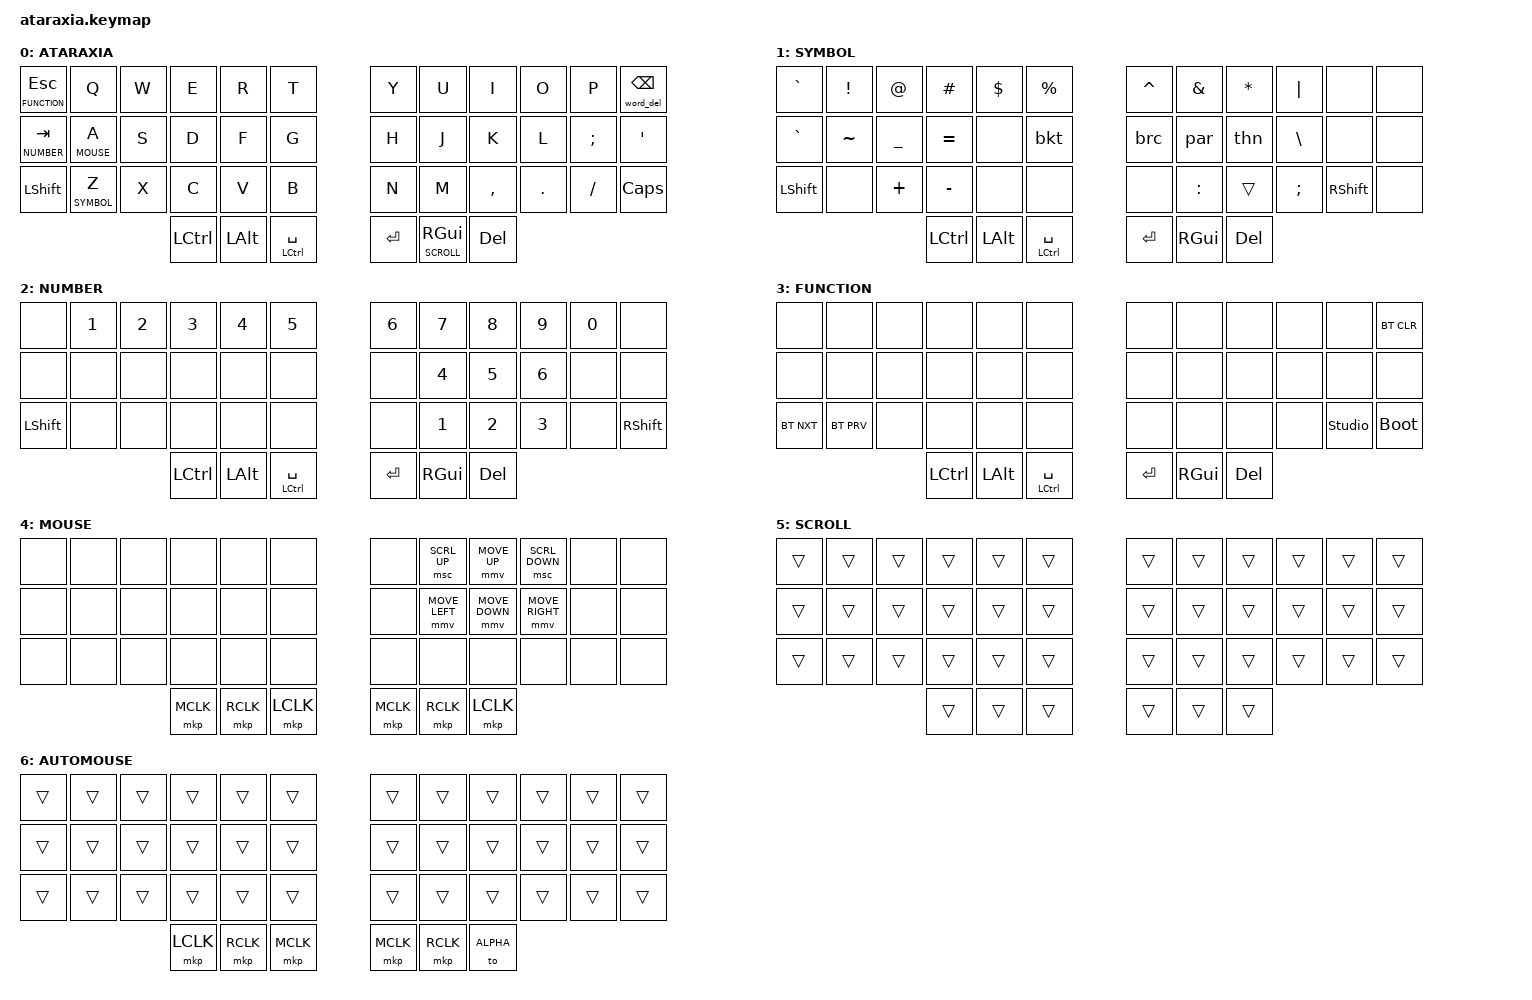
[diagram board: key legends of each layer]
/*
 * Copyright (c) 2025 miketronic
 * SPDX-License-Identifier: MIT
 * ataraxia
 */

/*
 *
 * List of behvaiors here > https://github.com/zmkfirmware/zmk/tree/main/app/dts/behaviors
 *
 *
 * #undef ZMK_BEHAVIORS_KEEP_ALL
 * #define ZMK_BEHAVIORS_KEEP_BT
 * #define ZMK_BEHAVIORS_KEEP_KP
 * #define ZMK_BEHAVIORS_KEEP_LT
 * #define ZMK_BEHAVIORS_KEEP_MKP
 * #define ZMK_BEHAVIORS_KEEP_MMV
 * #define ZMK_BEHAVIORS_KEEP_MSC
 * #define ZMK_BEHAVIORS_KEEP_MT
 * #define ZMK_BEHAVIORS_KEEP_NONE
 * #define ZMK_BEHAVIORS_KEEP_SK
 *
 *
 */




#define ZMK_POINTING_DEFAULT_MOVE_VAL 500
#define ZMK_POINTING_DEFAULT_SCRL_VAL 20

#include <behaviors.dtsi>
#include <input/processors.dtsi>
// #include <zephyr/dt-bindings/input/input-event-codes.h>
#include <dt-bindings/zmk/keys.h>
#include <dt-bindings/zmk/bt.h>
#include <dt-bindings/zmk/outputs.h>
#include <dt-bindings/zmk/pointing.h>
// #include <dt-bindings/zmk/ext_power.h>
#include <dt-bindings/zmk/input_transform.h>


#define ALPHA       0
#define SYMBOL      1
#define NUMBER      2
#define FUNCTION    3
#define MOUSE       4
#define SCROLL      5
#define AUTOMOUSE   6

/* Automouse (Navigator-style auto-activation of a layer on ball movement)
 * was tried and removed: it caused mistypes in practice. No automouse-layer
 * property is set, so the driver's auto-shift never fires; the mouse layer
 * is only entered deliberately (hold MSEA, or a Studio-bound toggle key for
 * layer 4). AUTOMOUSE_layer (6) below is kept as an inert placeholder so
 * layer indices stay stable for ZMK Studio-saved keymaps. */
&trackball {
    /* The shield's board fixup sets scroll-layers = <4 5>, but layer 4 is
     * MOUSE -- the very layer held via MSEA to get click-button access. That
     * made holding MSEA reinterpret ball movement as scrolling instead of
     * cursor movement ("locks the cursor"). Dropped 4 so MSEA no longer
     * forces scroll; SCROLL(5) is now reached independently via SCRH below. */
    scroll-layers = <SCROLL>;
};

/* zmk-pointing-acceleration-alpha, Level 2 (Standard) custom tuning -- see
 * CONFIG_INPUT_PROCESSOR_ACCEL_LEVEL_STANDARD/_PRESET_CUSTOM in ataraxia.conf.
 * This runs on every ball movement AND scroll event alike (it doesn't
 * distinguish them at runtime despite the per-axis "codes" property), so
 * these values shape both. All values below are a first-guess starting
 * point -- easy to retune, no other files involved:
 *   sensitivity          1000 = 1.0x baseline speed multiplier
 *   max-factor           multiplier applied once speed-max is reached
 *   min-factor           multiplier applied below speed-threshold (<1000 = slows down slow movements, 1000 = no effect)
 *   speed-threshold       counts/sec below which no acceleration is applied
 *   speed-max             counts/sec at which max-factor is fully reached
 *   acceleration-exponent  1=linear, 2=mild, 3=moderate, 4=strong, 5=aggressive curve between the thresholds
 *   y-boost               extra Y-axis multiplier on top of the above (1000 = none)
 *   sensor-dpi             should match CONFIG_PMW3610_CPI above (800) -- used to scale the counts/sec math correctly
 */
&pointer_accel {
    sensitivity = <1200>;
    max-factor = <2200>;
    min-factor = <1000>;
    speed-threshold = <500>;
    speed-max = <2500>;
    acceleration-exponent = <2>;
    y-boost = <1000>;
    sensor-dpi = <800>;
};

#define ESCFN  &lt FUNCTION ESC
#define NTAB   &lt NUMBER TAB
#define SYMZ   &lt SYMBOL Z
#define MSEA   &lt MOUSE A
/* Hold for scroll mode (trackball movement becomes scroll instead of cursor
 * movement), tap for GUI as before -- independent of MOUSE/MSEA. */
#define SCRH   &lt SCROLL RGUI

#define LSHF    &kp LSHFT
#define RSHF    &kp RSHFT
#define COMM    &kp COMMA
#define GRV     &kp GRAVE
#define UND     &kp UNDER

#define MM_U &mmv MOVE_UP
#define MM_D &mmv MOVE_DOWN
#define MM_R &mmv MOVE_RIGHT
#define MM_L &mmv MOVE_LEFT

#define MS_U &msc SCRL_UP
#define MS_D &msc SCRL_DOWN
#define MS_R &msc SCRL_RIGHT
#define MS_L &msc SCRL_LEFT

#define MCK  &mkp MCLK  
#define RCK  &mkp RCLK  
#define LCK  &mkp LCLK 

#define SPC_C   &spc_ctrl LCTRL SPACE
#define BSPC_W  &bspc_word 0 BSPC

&mmv_input_listener {
        standard {
            layers = <MOUSE>;
            input-processors = <&zip_xy_scaler 3 1>;
        };
};

&mmv {
    x-input-code = <INPUT_REL_X>;
    y-input-code = <INPUT_REL_Y>;
    time-to-max-speed-ms = <200>;
    acceleration-exponent = <1>;
};

&mt {
    tapping-term-ms = <160>;
};

&lt {
    tapping-term-ms = <150>;
};

/ {

    combos {

        compatible = "zmk,combos";
        combo_bootloader {
            timeout-ms = <100>;
            key-positions = <0 11>;
            bindings = <&bootloader>;
        };
    };

    macros {
        word_del: word_delete {
            compatible = "zmk,behavior-macro";
            #binding-cells = <0>;
            bindings
                = <&macro_press &kp LCTRL>
                , <&macro_tap &kp BSPC>
                , <&macro_release &kp LCTRL>
                ;
        };
    };

    behaviors {

        bkt: tap_dance_bracket {
            compatible = "zmk,behavior-tap-dance";
            #binding-cells = <0>;
            tapping-term-ms = <200>;
            bindings = <&kp LBKT>, <&kp RBKT>;
        };

        brc: tap_dance_brace {
            compatible = "zmk,behavior-tap-dance";
            #binding-cells = <0>;
            tapping-term-ms = <200>;
            bindings = <&kp LBRC>, <&kp RBRC>;
        };

        par: tap_dance_paren {
            compatible = "zmk,behavior-tap-dance";
            #binding-cells = <0>;
            tapping-term-ms = <200>;
            bindings = <&kp LPAR>, <&kp RPAR>;
        };

        thn: tap_dance_then {
            compatible = "zmk,behavior-tap-dance";
            #binding-cells = <0>;
            tapping-term-ms = <200>;
            bindings = <&kp LT>, <&kp GT>;
        };

        hrm: homerow_mods {
           compatible = "zmk,behavior-hold-tap";
           #binding-cells = <2>;
           tapping-term-ms = <250>;
           quick-tap-ms = <0>;
           flavor = "tap-preferred";
           bindings = <&kp>, <&kp>;

        };

        spc_ctrl: spacebar_hold_ctrl {
            compatible = "zmk,behavior-hold-tap";
            #binding-cells = <2>;
            tapping-term-ms = <200>;
            quick-tap-ms = <150>;
            flavor = "tap-preferred";
            bindings = <&kp>, <&kp>;
        };

        bspc_word: backspace_hold_word_delete {
            compatible = "zmk,behavior-hold-tap";
            #binding-cells = <2>;
            tapping-term-ms = <200>;
            quick-tap-ms = <150>;
            flavor = "tap-preferred";
            bindings = <&word_del>, <&kp>;
        };

    };



    keymap {
        compatible = "zmk,keymap";

        ALPHA_layer {
            display-name = "ATARAXIA";  
            bindings = <
                ESCFN   &kp Q   &kp W   &kp E   &kp R   &kp T   &kp Y   &kp U   &kp I   &kp O   &kp P    BSPC_W
                NTAB    MSEA    &kp S   &kp D   &kp F   &kp G   &kp H   &kp J   &kp K   &kp L   &kp SEMI &kp QUOT
                LSHF    SYMZ    &kp X   &kp C   &kp V   &kp B   &kp N   &kp M   COMM    &kp DOT &kp FSLH &kp CAPS
                                &kp LCTRL &kp LALT SPC_C  &kp RET   SCRH &kp DEL
            >;
        };

        SYMBOL_layer {
            display-name = "SYMBOL";  
            bindings = <
                GRV &kp EXCL  &kp AT  &kp HASH  &kp DLLR &kp PRCNT &kp CARET &kp AMPS &kp STAR &kp PIPE &none &none
                GRV &kp TILDE UND     &kp EQUAL &none    &bkt  &brc  &par      &thn   &kp BSLH &none &none
                LSHF  &none &kp PLUS  &kp MINUS &none    &none &none &kp COLON &trans &kp SEMI RSHF &none
                                 &kp LCTRL &kp LALT SPC_C  &kp RET   &kp RGUI &kp DEL
            >;
        };

        NUMBER_layer {
            display-name = "NUMBER";  
            bindings = <
                &none &kp N1 &kp N2 &kp N3 &kp N4 &kp N5 &kp N6 &kp N7 &kp N8 &kp N9 &kp N0 &none
                &none &none  &none  &none  &none  &none  &none  &kp N4 &kp N5 &kp N6 &none  &none
                LSHF  &none  &none  &none  &none  &none  &none &kp N1 &kp N2 &kp N3 &none  RSHF 
                                 &kp LCTRL &kp LALT SPC_C  &kp RET   &kp RGUI &kp DEL
            >;
        };

        FUNCTION_layer {
            display-name = "FUNCTION";  
            bindings = <
                &none  &none  &none  &none  &none  &none  &none  &none  &none &none &none &bt BT_CLR
                &none  &none  &none  &none  &none  &none  &none  &none  &none &none &none &none
                &bt BT_NXT  &bt BT_PRV  &none  &none  &none  &none  &none  &none  &none &none &studio_unlock &bootloader
                                 &kp LCTRL &kp LALT SPC_C  &kp RET   &kp RGUI &kp DEL
            >;
        };

        MOUSE_layer {
            display-name = "MOUSE";  
            bindings = <
                &none  &none  &none  &none  &none  &none  &none  MS_U   MM_U   MS_D  &none &none
                &none  &none  &none  &none  &none  &none  &none  MM_L   MM_D   MM_R  &none &none
                &none  &none  &none  &none  &none  &none  &none  &none  &none  &none &none &none  
                                    MCK  RCK  LCK                        MCK  RCK  LCK
            >;
        };

        SCROLL_layer {
            display-name = "SCROLL";
            /* Fully transparent -- typing keys still work normally while
             * held. Layer 5's ID alone (via scroll-layers = <SCROLL> above)
             * is what makes the trackball driver treat ball movement as
             * scroll input while this layer is active; no bindings needed
             * here for that part. */
            bindings = <
                &trans &trans &trans &trans &trans &trans &trans &trans &trans &trans &trans &trans
                &trans &trans &trans &trans &trans &trans &trans &trans &trans &trans &trans &trans
                &trans &trans &trans &trans &trans &trans &trans &trans &trans &trans &trans &trans
                                    &trans &trans &trans          &trans &trans &trans
            >;
        };

        AUTOMOUSE_layer {
            display-name = "AUTOMOUSE";
            bindings = <
                &trans &trans &trans &trans &trans &trans &trans &trans &trans &trans &trans &trans
                &trans &trans &trans &trans &trans &trans &trans &trans &trans &trans &trans &trans
                &trans &trans &trans &trans &trans &trans &trans &trans &trans &trans &trans &trans
                                    LCK    RCK    MCK          MCK    RCK    &to ALPHA
            >;
        };

        extra3 {
            status = "reserved";
        };

        extra4 {
            status = "reserved";
        };

    };
};
